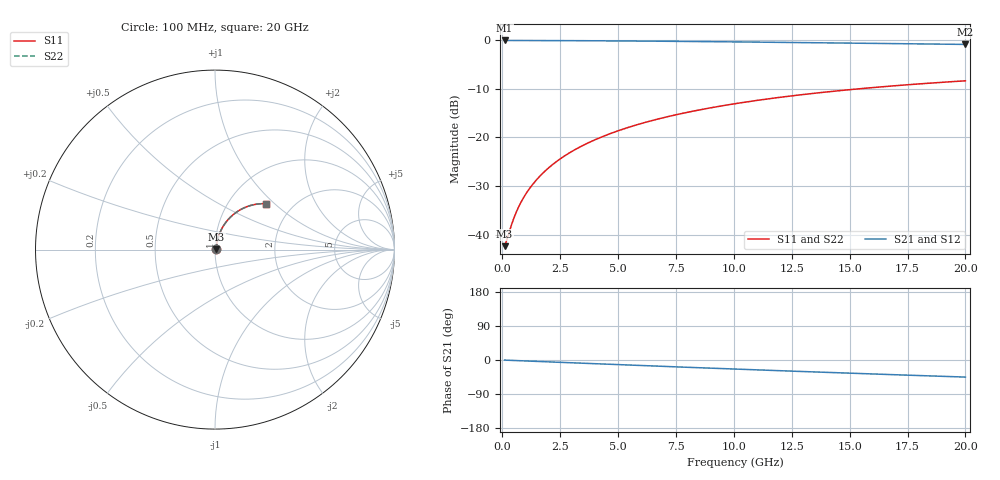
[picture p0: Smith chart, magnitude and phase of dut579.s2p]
! Touchstone file exported from HFSS 2026.1.0
!  File:  C:/ffzhzh/LocalFiles/Ansys_Project_Files/temp_train_BSMRDL_579_1783015671_53980.aedt
!  Generated:  02:09:07 AM Jul  3, 2026
!  Design:  BSMRDL
!  Project:  temp_train_BSMRDL_579_1783015671_53980
! Variables:
!  h_bsmrdl = 3.39um
!  h_ox = 20um
!  h_rdl = 5um
!  h_sub = 80um
!  h_tmrdl = 5um
!  h_tsv = 80um
!  h_via = 3um
!  l_bsmrdl = 715.3um
!  l_sub = 1115.3um
!  l_tmrdl = 200um
!  m_sub = 200um
!  pitch = 24.23um
!  r_tsv = 6um
!  s_tmrdl = 10um
!  w_bsmrdl = 10.35um
!  w_sub = 500um
!  w_tmrdl = 12um
!  x_tsv_center1 = 206um
!  x_tsv_center2 = 931.65um
!  x_tsv_center3 = 1143.65um
!  x_tsv_center4 = 1869.3um
!  x_tsv_center5 = 2081.3um
!  x_tsv_center6 = 2806.95um
# GHz S MA R 50.000000
! Terminal data exported
! Port[1] = BSM_RDL1_1_T1
! Port[2] = BSM_RDL1_1_T2
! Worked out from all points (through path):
!   200 points, 100 MHz to 20 GHz, reference 50 ohm
!   highest |S21| = -0.06 dB at 100 MHz (marker M1); lowest = -0.9 dB at 20 GHz (marker M2)
!   group delay of S21, straight-line fit = 6.26 ps
!   lowest |S11| = -42.3 dB at 100 MHz (marker M3), VSWR 1.02, Z = 50.7 + j0.262 ohm
!   |S11| at or under -10 dB: start of sweep to 15.4 GHz
!   |S22| runs from -42.3 to -8.4 dB; largest |S21 - S12| = 2.7e-15
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0.1  0.007642 19.7  0.9928 -0.3  0.9928 -0.3  0.007642 19.7
! Gamma 0 0 0 0
! Port Impedance 50 0 50 0
0.2  0.00894 35.0  0.9927 -0.5  0.9927 -0.5  0.00894 35.0
0.4  0.01272 52.5  0.9924 -1.0  0.9924 -1.0  0.01272 52.5
0.5  0.01484 57.4  0.9922 -1.3  0.9922 -1.3  0.01484 57.4
0.7  0.01921 63.6  0.9918 -1.8  0.9918 -1.8  0.01921 63.6
0.8  0.02143 65.7  0.9917 -2.0  0.9917 -2.0  0.02143 65.7
1  0.0259 68.7  0.9914 -2.5  0.9914 -2.5  0.02591 68.7
1.3  0.03269 71.6  0.991 -3.2  0.991 -3.2  0.03269 71.6
1.7  0.04184 73.6  0.9904 -4.2  0.9904 -4.2  0.04184 73.6
2.2  0.05335 74.8  0.9896 -5.4  0.9896 -5.4  0.05335 74.8
2.8  0.06718 75.1  0.9884 -6.9  0.9884 -6.9  0.06718 75.0
3.5  0.08324 74.6  0.9867 -8.6  0.9867 -8.6  0.08325 74.6
4.2  0.09917 73.7  0.9848 -10.3  0.9848 -10.3  0.09917 73.7
5  0.1171 72.5  0.9822 -12.2  0.9822 -12.2  0.1171 72.4
5.9  0.137 70.8  0.9789 -14.3  0.9789 -14.3  0.137 70.8
6.8  0.1564 69.0  0.9753 -16.5  0.9753 -16.5  0.1564 69.0
8.3  0.1876 65.9  0.9685 -19.9  0.9685 -19.9  0.1877 65.8
10.1  0.2233 62.1  0.9596 -24.1  0.9596 -24.1  0.2234 62.0
11.7  0.2533 58.7  0.951 -27.6  0.951 -27.6  0.2533 58.7
13.4  0.2833 55.2  0.9416 -31.4  0.9416 -31.4  0.2834 55.1
16.7  0.3363 48.5  0.9227 -38.4  0.9227 -38.4  0.3363 48.4
20  0.3821 42.0  0.9041 -45.1  0.9041 -45.1  0.3822 41.9
